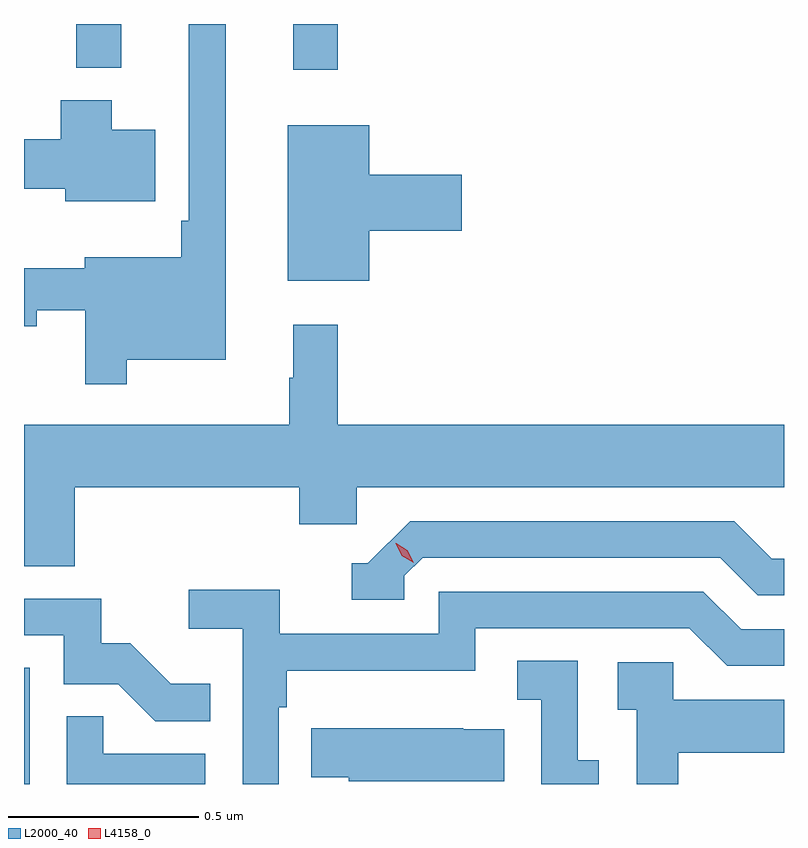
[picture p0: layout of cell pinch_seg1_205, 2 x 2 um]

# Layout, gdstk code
import gdstk
lib = gdstk.Library(unit=1e-6, precision=1e-09)
def R(c, l, rs):  # rectangles x0, y0, x1, y1
    for r in rs: c.add(gdstk.rectangle(r[:2], r[2:], *l))
def P(c, l, *ps):  # polygons
    for p in ps: c.add(gdstk.Polygon(p, *l))
L2000_40 = (2000, 40)
L4158_0 = (4158, 0)

pinch_seg1_205 = lib.new_cell('pinch_seg1_205')
R(pinch_seg1_205, L2000_40, [(998.413,574.927,998.428,575.233), (999.122,576.807,999.239,576.927), (998.551,576.812,998.669,576.927)])
P(pinch_seg1_205, L2000_40, [(998.683,576.044),(998.944,576.044),(998.944,576.927),(998.847,576.927),(998.847,576.409),(998.827,576.409),(998.827,576.313),(998.573,576.313),(998.573,576.284),(998.413,576.284),(998.413,576.131),(998.446,576.131),(998.446,576.174),(998.574,576.174),(998.574,575.979),(998.683,575.979)],
  [(998.758,576.649),(998.644,576.649),(998.644,576.727),(998.51,576.727),(998.51,576.624),(998.413,576.624),(998.413,576.494),(998.522,576.494),(998.522,576.461),(998.758,576.461)],
  [(999.322,576.383),(999.565,576.383),(999.565,576.53),(999.322,576.53),(999.322,576.661),(999.107,576.661),(999.107,576.251),(999.322,576.251)],
  [(998.546,575.708),(999.137,575.708),(999.137,575.61),(999.288,575.61),(999.288,575.708),(1000.413,575.708),(1000.413,575.872),(999.239,575.872),(999.239,576.136),(999.122,576.136),(999.122,575.996),(999.111,575.996),(999.111,575.872),(998.413,575.872),(998.413,575.5),(998.546,575.5)],
  [(999.414,575.475),(999.462,575.523),(1000.245,575.523),(1000.344,575.424),(1000.413,575.424),(1000.413,575.52),(1000.381,575.52),(1000.282,575.619),(999.429,575.619),(999.318,575.508),(999.275,575.508),(999.275,575.412),(999.414,575.412)],
  [(999.084,575.129),(999.104,575.129),(999.104,575.225),(999.6,575.225),(999.6,575.337),(1000.164,575.337),(1000.263,575.238),(1000.413,575.238),(1000.413,575.334),(1000.3,575.334),(1000.201,575.433),(999.504,575.433),(999.504,575.322),(999.086,575.322),(999.086,575.438),(998.847,575.438),(998.847,575.336),(998.988,575.336),(998.988,574.927),(999.084,574.927)],
  [(998.903,575.191),(998.799,575.191),(998.692,575.298),(998.616,575.298),(998.616,575.415),(998.413,575.415),(998.413,575.319),(998.517,575.319),(998.517,575.19),(998.661,575.19),(998.759,575.092),(998.903,575.092)],
  [(999.925,574.989),(999.87,574.989),(999.87,575.252),(999.711,575.252),(999.711,575.149),(999.774,575.149),(999.774,574.927),(999.925,574.927)],
  [(1000.135,575.009),(1000.413,575.009),(1000.413,575.149),(1000.122,575.149),(1000.122,575.247),(999.975,575.247),(999.975,575.123),(1000.026,575.123),(1000.026,574.927),(1000.135,574.927)],
  [(998.89,575.007),(998.621,575.007),(998.621,575.105),(998.526,575.105),(998.526,574.927),(998.89,574.927)],
  [(999.677,575.071),(999.569,575.071),(999.569,575.074),(999.169,575.074),(999.169,574.945),(999.267,574.945),(999.267,574.934),(999.677,574.934)])
P(pinch_seg1_205, L4158_0, [(999.438,575.509),(999.407,575.528),(999.391,575.561),(999.391,575.561),(999.392,575.561),(999.422,575.542),(999.438,575.509),(999.438,575.509)])

lib.write_gds('pinch_seg1_205.gds')
